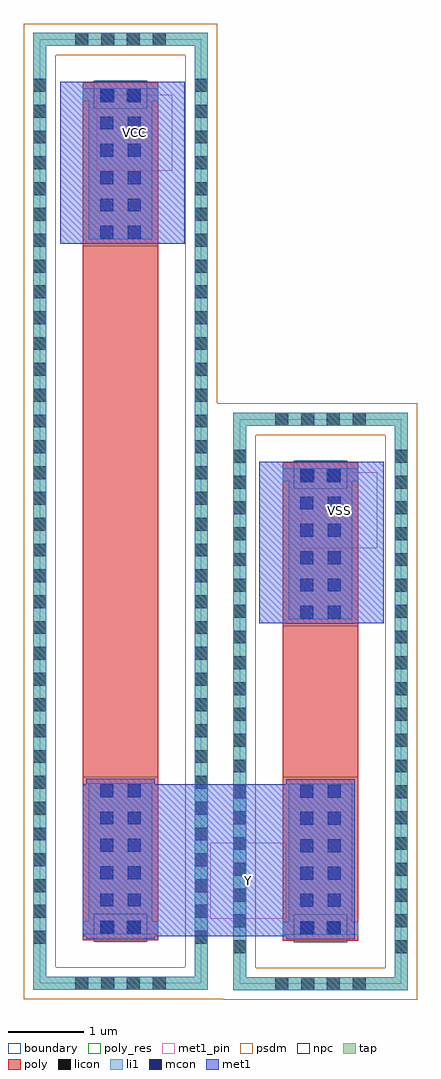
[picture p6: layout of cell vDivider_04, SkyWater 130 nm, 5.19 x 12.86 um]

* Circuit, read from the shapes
.subckt vDivider_04 VCC VSS Y
R1 VCC Y sky130_fd_pr__res_generic_po w=1 l=7
R2 VSS Y sky130_fd_pr__res_generic_po w=1 l=2
.ends

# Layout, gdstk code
import gdstk
lib = gdstk.Library(unit=1e-6, precision=1e-09)
def R(c, l, rs):  # rectangles x0, y0, x1, y1
    for r in rs: c.add(gdstk.rectangle(r[:2], r[2:], *l))
def A(c, l, x, y, w, h, nx, ny, dx, dy):  # array of equal rectangles
    R(c, l, [(x+i*dx, y+j*dy, x+i*dx+w, y+j*dy+h) for i in range(nx) for j in range(ny)])
tap = (65, 44)
poly_res = (66, 13)
poly = (66, 20)
licon = (66, 44)
li1 = (67, 20)
mcon = (67, 44)
met1_pin = (68, 16)
met1 = (68, 20)
psdm = (94, 20)
npc = (95, 20)
boundary = (235, 4)

sky130_fd_pr__res_generi = lib.new_cell('sky130_fd_pr__res_generic_po_F24UGF')
R(sky130_fd_pr__res_generi, tap, [(-1.15,-6.3,1.15,-6.13), (-1.15,-6.13,-0.98,6.13), (0.98,-6.13,1.15,6.13), (-1.15,6.13,1.15,6.3)])
R(sky130_fd_pr__res_generi, poly_res, [(-0.5,-3.5,0.5,3.5)])
R(sky130_fd_pr__res_generi, poly, [(-0.5,-5.65,0.5,5.65)])
A(sky130_fd_pr__res_generi, licon, -0.595, -6.3, 0.17, 0.17, 4, 2, 0.34, 12.43)
A(sky130_fd_pr__res_generi, licon, -1.15, -5.695, 0.17, 0.17, 1, 34, 0, 0.34)
A(sky130_fd_pr__res_generi, licon, 0.98, -5.695, 0.17, 0.17, 1, 34, 0, 0.34)
R(sky130_fd_pr__res_generi, licon, [(-0.255,-5.57,-0.085,-5.4), (0.085,-5.57,0.255,-5.4), (-0.255,5.4,-0.085,5.57), (0.085,5.4,0.255,5.57)])
R(sky130_fd_pr__res_generi, li1, [(-1.15,-6.3,1.15,-6.13), (-1.15,-6.13,-0.98,6.13), (0.98,-6.13,1.15,6.13), (-0.5,-5.57,0.5,-5.4), (-0.42,-5.4,0.42,-3.585), (-0.42,3.585,0.42,5.4), (-0.5,5.4,0.5,5.57), (-1.15,6.13,1.15,6.3)])
A(sky130_fd_pr__res_generi, mcon, -0.265, -5.565, 0.17, 0.17, 1, 6, 0, 0.36)
A(sky130_fd_pr__res_generi, mcon, 0.095, -5.565, 0.17, 0.17, 1, 6, 0, 0.36)
A(sky130_fd_pr__res_generi, mcon, -0.265, 3.59, 0.17, 0.17, 1, 6, 0, 0.36)
A(sky130_fd_pr__res_generi, mcon, 0.095, 3.59, 0.17, 0.17, 1, 6, 0, 0.36)
R(sky130_fd_pr__res_generi, met1, [(-0.45,-5.63,0.45,-3.525), (-0.45,3.525,0.45,5.63)])
R(sky130_fd_pr__res_generi, psdm, [(-1.275,-6.425,1.275,-6.005), (-1.275,-6.005,-0.855,6.005), (0.855,-6.005,1.275,6.005), (-1.275,6.005,1.275,6.425)])
R(sky130_fd_pr__res_generi, npc, [(-0.355,-5.67,0.355,-5.3), (-0.355,5.3,0.355,5.67)])
R(sky130_fd_pr__res_generi, boundary, [(-1.065,-6.215,1.065,6.215)])

c_sky130_fd_pr__res_generi = lib.new_cell('sky130_fd_pr__res_generic_po_EYFBEM')
R(c_sky130_fd_pr__res_generi, tap, [(-1.15,-3.8,1.15,-3.63), (-1.15,-3.63,-0.98,3.63), (0.98,-3.63,1.15,3.63), (-1.15,3.63,1.15,3.8)])
R(c_sky130_fd_pr__res_generi, poly_res, [(-0.5,-1,0.5,1)])
R(c_sky130_fd_pr__res_generi, poly, [(-0.5,-3.15,0.5,3.15)])
A(c_sky130_fd_pr__res_generi, licon, -0.595, -3.8, 0.17, 0.17, 4, 2, 0.34, 7.43)
A(c_sky130_fd_pr__res_generi, licon, -1.15, -3.315, 0.17, 0.17, 1, 20, 0, 0.34)
A(c_sky130_fd_pr__res_generi, licon, 0.98, -3.315, 0.17, 0.17, 1, 20, 0, 0.34)
R(c_sky130_fd_pr__res_generi, licon, [(-0.255,-3.07,-0.085,-2.9), (0.085,-3.07,0.255,-2.9), (-0.255,2.9,-0.085,3.07), (0.085,2.9,0.255,3.07)])
R(c_sky130_fd_pr__res_generi, li1, [(-1.15,-3.8,1.15,-3.63), (-1.15,-3.63,-0.98,3.63), (0.98,-3.63,1.15,3.63), (-0.5,-3.07,0.5,-2.9), (-0.42,-2.9,0.42,-1.085), (-0.42,1.085,0.42,2.9), (-0.5,2.9,0.5,3.07), (-1.15,3.63,1.15,3.8)])
A(c_sky130_fd_pr__res_generi, mcon, -0.265, -3.065, 0.17, 0.17, 1, 6, 0, 0.36)
A(c_sky130_fd_pr__res_generi, mcon, 0.095, -3.065, 0.17, 0.17, 1, 6, 0, 0.36)
A(c_sky130_fd_pr__res_generi, mcon, -0.265, 1.09, 0.17, 0.17, 1, 6, 0, 0.36)
A(c_sky130_fd_pr__res_generi, mcon, 0.095, 1.09, 0.17, 0.17, 1, 6, 0, 0.36)
R(c_sky130_fd_pr__res_generi, met1, [(-0.45,-3.13,0.45,-1.025), (-0.45,1.025,0.45,3.13)])
R(c_sky130_fd_pr__res_generi, psdm, [(-1.275,-3.925,1.275,-3.505), (-1.275,-3.505,-0.855,3.505), (0.855,-3.505,1.275,3.505), (-1.275,3.505,1.275,3.925)])
R(c_sky130_fd_pr__res_generi, npc, [(-0.355,-3.17,0.355,-2.8), (-0.355,2.8,0.355,3.17)])
R(c_sky130_fd_pr__res_generi, boundary, [(-1.065,-3.715,1.065,3.715)])

vdivider_04 = lib.new_cell('vDivider_04')
R(vdivider_04, met1_pin, [(2.25,3.85,3.25,4.85), (3.45,8.73,4.45,9.73), (0.75,13.7,1.75,14.7)])
R(vdivider_04, met1, [(0.57,3.62,4.12,5.62), (2.89,7.74,4.53,9.87), (0.27,12.74,1.91,14.87)])
R(vdivider_04, psdm, [(2.34,2.79,2.425,10.635)])
vdivider_04.add(gdstk.Reference(sky130_fd_pr__res_generi, (1.065,9.215)))
vdivider_04.add(gdstk.Reference(c_sky130_fd_pr__res_generi, (3.7,6.71)))
vdivider_04.add(gdstk.Label('VCC', (1.25,14.2), layer=68, texttype=5))
vdivider_04.add(gdstk.Label('VSS', (3.95,9.23), layer=68, texttype=5))
vdivider_04.add(gdstk.Label('Y', (2.75,4.35), layer=68, texttype=5))

lib.write_gds('vDivider_04.gds')
